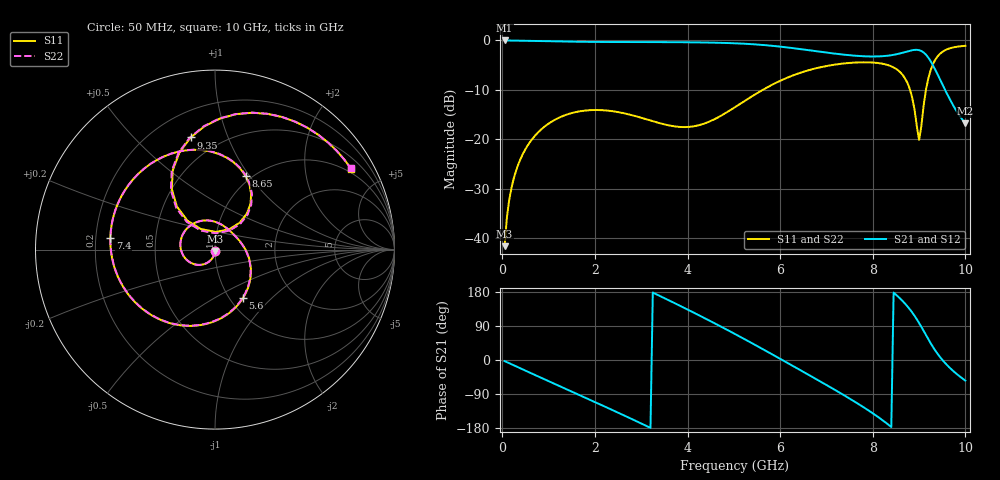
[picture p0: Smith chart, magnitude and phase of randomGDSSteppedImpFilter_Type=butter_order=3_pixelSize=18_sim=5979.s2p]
! freq	dB(S11)	phase(S11)	dB(S12)	phase(S12)
!  dB(S21)	phase(S21)	dB(S22)	phase(S22)
!S-par simulation data
#  GHz  S  DB  R 50
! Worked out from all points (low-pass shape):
!   200 points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, 50 MHz to 10 GHz, reference 50 ohm
!   highest |S21| = -0.01 dB at 50 MHz (marker M1); lowest = -16.8 dB at 10 GHz (marker M2)
!   |S21| within 3 dB of the highest: start of sweep to 7.517 GHz; 8.386 GHz to 9.16 GHz (773.8 MHz wide, 8.82 % of centre)
!   lowest |S11| = -41.6 dB at 50 MHz (marker M3), VSWR 1.02, Z = 50 - j0.835 ohm
!   |S11| at or under -10 dB: start of sweep to 5.623 GHz; 8.805 GHz to 9.148 GHz (343.3 MHz wide, 3.82 % of centre)
!   |S22| runs from -41.6 to -1.1 dB; largest |S21 - S12| = 0
!   S11 on the Smith chart (normalised r, x): 50 MHz: 1.00, -0.02; 5.6 GHz: 1.15, -0.69; 7.4 GHz: 0.26, +0.05; 8.65 GHz: 0.93, +0.96; 9.35 GHz: 0.35, +0.74; 10 GHz: 0.85, +3.46
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0.05  -41.56 -90.7  -0.01 -2.9  -0.01 -2.9  -41.56 -90.7
0.2  -29.71 -101.0  -0.03 -11.3  -0.03 -11.3  -29.71 -101.0
0.5  -21.97 -118.4  -0.06 -28.1  -0.06 -28.1  -21.97 -118.3
1.15  -15.95 -154.8  -0.19 -64.2  -0.19 -64.2  -15.95 -154.8
1.75  -14.21 172.0  -0.28 -97.2  -0.28 -97.2  -14.21 172.1
2.65  -14.76 121.9  -0.33 -147.4  -0.33 -147.4  -14.76 121.8
3.4  -16.72 78.6  -0.34 169.2  -0.34 169.2  -16.72 78.3
4.3  -16.99 24.3  -0.41 114.8  -0.41 114.8  -16.99 23.5
5.05  -13.34 -23.4  -0.59 67.0  -0.59 67.0  -13.34 -24.3
5.6  -10.12 -60.0  -0.90 30.4  -0.90 30.4  -10.13 -60.8
6.1  -7.74 -94.3  -1.36 -3.7  -1.36 -3.7  -7.74 -94.9
6.7  -5.80 -136.0  -2.08 -45.0  -2.08 -45.0  -5.80 -136.6
7.4  -4.63 173.8  -2.90 -94.5  -2.90 -94.5  -4.63 173.3
7.9  -4.42 135.6  -3.23 -132.5  -3.23 -132.5  -4.43 135.2
8.35  -5.05 97.3  -3.06 -171.9  -3.06 -171.9  -5.06 96.8
8.65  -7.03 67.6  -2.48 154.9  -2.48 154.9  -7.04 66.8
8.85  -11.50 48.4  -1.98 125.7  -1.98 125.7  -11.56 46.9
9  -20.11 87.7  -1.97 97.7  -1.97 97.7  -20.83 87.2
9.15  -9.90 131.5  -2.89 65.6  -2.89 65.6  -9.97 132.9
9.35  -3.89 102.3  -5.92 25.0  -5.92 25.0  -3.91 102.9
9.6  -1.81 68.7  -10.72 -13.0  -10.72 -13.0  -1.82 69.1
10  -1.09 30.6  -16.77 -54.4  -16.77 -54.4  -1.10 30.9
